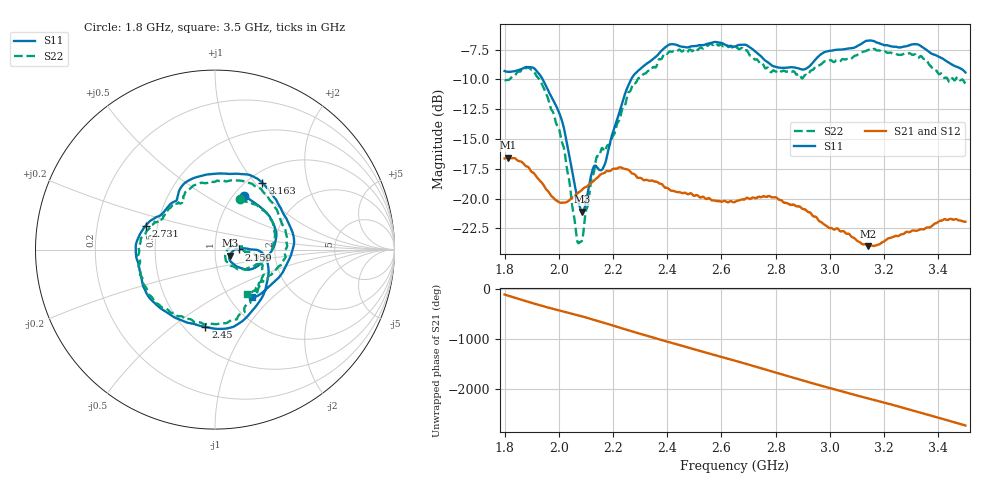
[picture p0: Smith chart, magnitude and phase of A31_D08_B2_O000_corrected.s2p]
! Created with skrf 1.9.0 (http://scikit-rf.org).
# Hz S RI R 50.0
!freq ReS11 ImS11 ReS21 ImS21 ReS12 ImS12 ReS22 ImS22
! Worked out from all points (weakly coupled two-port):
!   1601 points, 1.8 GHz to 3.5 GHz, reference 50 ohm
!   highest |S21| = -16.56 dB at 1.812 GHz (marker M1); lowest = -24.0 dB at 3.142 GHz (marker M2)
!   lowest |S11| = -21.1 dB at 2.087 GHz (marker M3), VSWR 1.19, Z = 58.8 - j3.9 ohm
!   |S11| at or under -10 dB: 1.941 GHz to 2.267 GHz (326.4 MHz wide, 15.5 % of centre)
!   |S22| runs from -23.7 to -7.0 dB; largest |S21 - S12| = 0.0028
!   S11 on the Smith chart (normalised r, x): 1.8 GHz: 1.11, +0.76; 2.159 GHz: 1.30, +0.00; 2.45 GHz: 0.63, -0.67; 2.731 GHz: 0.43, +0.14; 3.163 GHz: 1.16, +1.10; 3.5 GHz: 1.27, -0.76
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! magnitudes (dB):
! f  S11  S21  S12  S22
! 1.8 GHz  -9.3  -16.6  -16.6  -10.1
! 1.812 GHz  -9.4  -16.6  -16.6  -10.1
! 1.887 GHz  -9.0  -17.4  -17.4  -9.0
! 1.941 GHz  -10.0  -18.8  -18.8  -10.6
! 2.011 GHz  -13.5  -20.4  -20.3  -15.3
! 2.066 GHz  -19.6  -19.6  -19.6  -23.2
! 2.084 GHz  -21.0  -19.3  -19.3  -23.6
! 2.087 GHz  -21.1  -19.2  -19.2  -23.4
! 2.127 GHz  -17.4  -18.5  -18.5  -18.0
! 2.159 GHz  -17.6  -17.9  -17.9  -15.8
! 2.263 GHz  -10.2  -17.7  -17.7  -11.0
! 2.367 GHz  -7.9  -18.7  -18.6  -8.4
! 2.45 GHz  -7.2  -19.5  -19.5  -7.6
! 2.65 GHz  -7.2  -20.3  -20.3  -7.4
! 2.731 GHz  -7.8  -19.9  -20.0  -8.3
! 2.81 GHz  -9.0  -20.1  -20.0  -9.2
! 2.934 GHz  -8.7  -21.4  -21.3  -9.2
! 3.142 GHz  -6.8  -24.0  -23.9  -7.5
! 3.163 GHz  -6.8  -24.0  -23.9  -7.4
! 3.217 GHz  -7.2  -23.3  -23.3  -7.8
! 3.326 GHz  -7.1  -22.7  -22.6  -8.2
! 3.5 GHz  -9.4  -21.9  -21.9  -10.4
